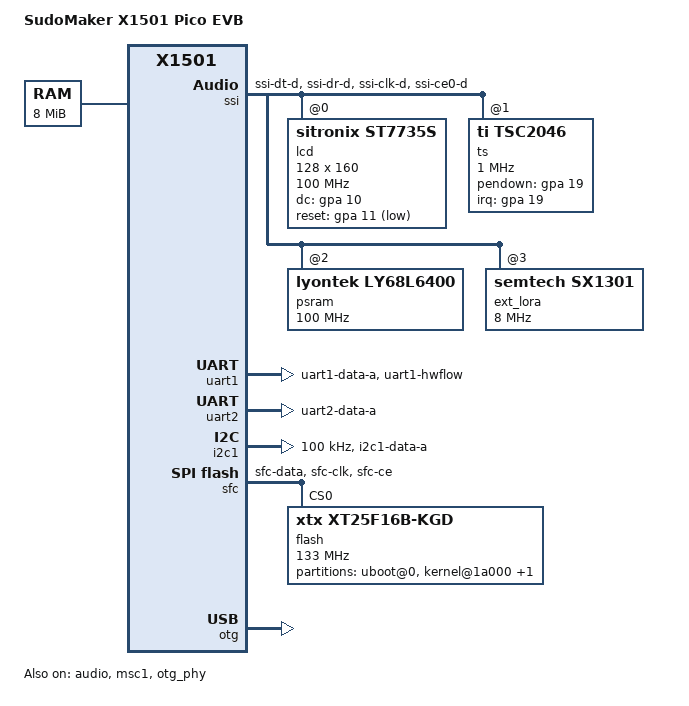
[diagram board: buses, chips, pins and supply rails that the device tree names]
// SPDX-License-Identifier: GPL-2.0
/dts-v1/;

#include "x1501.dtsi"
#include <dt-bindings/gpio/gpio.h>
#include <dt-bindings/input/input.h>
#include <dt-bindings/clock/ingenic,sysost.h>
#include <dt-bindings/interrupt-controller/irq.h>

/ {
	compatible = "sudomaker,x1501-pico-evb", "ingenic,x1501";
	model = "SudoMaker X1501 Pico EVB";

	aliases {
		serial2 = &uart2;
	};

	chosen {
		stdout-path = "serial2:115200n8";
	};

	memory {
		device_type = "memory";
		reg = <0x0 0x800000>;
	};

};

&exclk {
	clock-frequency = <24000000>;
};

&cgu {
	assigned-clocks = <&cgu X1000_CLK_SSIMUX>, <&cgu X1000_CLK_RTC>;
	assigned-clock-parents = <&cgu X1000_CLK_SSIPLL_DIV2>, <&cgu X1000_CLK_EXCLK_DIV512>;
};

&ost {
	/* 1500 kHz for the system timer and clocksource */
	assigned-clocks = <&ost OST_CLK_EVENT_TIMER>, <&ost OST_CLK_GLOBAL_TIMER>;
	assigned-clock-rates = <1500000>, <1500000>;
};

&ssi {
	status = "okay";

	pinctrl-names = "default";
	pinctrl-0 = <&pins_spi0>;

	num-cs = <4>;
	cs-gpios = <0>, <&gpa 18 GPIO_ACTIVE_LOW>, <&gpa 17 GPIO_ACTIVE_LOW>, <&gpa 16 GPIO_ACTIVE_LOW>;

	lcd: lcd@0 {
		reg = <0>;
		compatible = "sitronix,st7735s";

		spi-max-frequency = <100000000>;
		rotate = <270>;
		width = <128>;
		height = <160>;
		txbuflen = <16384>;
		buswidth = <8>;
		fps = <60>;
		dc-gpios = <&gpa 10 0>;
		reset-gpios = <&gpa 11 GPIO_ACTIVE_LOW>;
		debug = <0x4000000>;

		gamma = "02 1c 07 12 37 32 29 2d 29 25 2B 39 00 01 03 10\n03 1d 07 06 2E 2C 29 2D 2E 2E 37 3F 00 00 02 10";

	};

	ts: tsc2046@1 {
		reg = <1>;
		compatible = "ti,tsc2046";

		pinctrl-names = "default";
		pinctrl-0 = <&pins_xpt2046>;

		interrupt-parent = <&gpa>;
		interrupts = <19 0>;
		wakeup-source;

		spi-max-frequency = <1000000>;
		pendown-gpio = <&gpa 19 0>;
	};

	psram: ly68@2 {
		reg = <2>;
		compatible = "lyontek,ly68l6400";

		spi-max-frequency = <100000000>;
		op-sleep-ratio = <20>;
	};

	// ext_flash: m25p80@2 {
	// 	reg = <2>;
	// 	compatible = "spi-nand";

	// 	spi-max-frequency = <33000000>;
	// };

	ext_lora: lora@3 {
		reg = <3>;
		compatible = "semtech,sx1301";

		spi-max-frequency = <8000000>;
	};
};

&uart1 {
	status = "okay";

	pinctrl-names = "default";
	pinctrl-0 = <&pins_uart1>;
};

&uart2 {
	status = "okay";

	pinctrl-names = "default";
	pinctrl-0 = <&pins_uart2>;
};

&audio {
	status = "okay";
};

&i2c1 {
	status = "okay";

	clock-frequency = <100000>;

	pinctrl-names = "default";
	pinctrl-0 = <&pins_i2c1>;
};


&sfc {
	status = "okay";

	#address-cells = <1>;
	#size-cells = <0>;


	pinctrl-names = "default";
	pinctrl-0 = <&pins_sfc>;

	flash: m25p80@0 {
		compatible = "xtx,xt25f16b-kgd", "jedec,spi-nor";
		spi-max-frequency = <133000000>;
		reg = <0>;

		spi-rx-bus-width = <4>;
		spi-tx-bus-width = <4>;

		partitions {
			compatible = "fixed-partitions";
			#address-cells = <1>;
			#size-cells = <1>;

			uboot@0 {
				reg = <0x0 0x01a000>;
			};

			kernel@1a000 {
				reg = <0x01a000 0x100000>;
			};

			rootfs@100000 {
				reg = <0x11a000 0xe6000>;
			};
		};
	};

};

&msc1 {
	status = "okay";

	bus-width = <4>;
	max-frequency = <25000000>;

	pinctrl-names = "default";
	pinctrl-0 = <&pins_msc1>;

	non-removable;
};

&otg_phy {
	status = "okay";
};

&otg {
	status = "okay";
};

&pinctrl {
	pins_xpt2046: pa19 {
		pins = "PA19";
		bias-pull-up;
	};

	pins_sfc: sfc {
		function = "sfc";
		groups = "sfc-data", "sfc-clk", "sfc-ce";
		bias-disable;
	};

	pins_spi0: spi0 {
		function = "ssi";
		groups = "ssi-dt-d", "ssi-dr-d", "ssi-clk-d", "ssi-ce0-d";
	};

	pins_uart2: uart2 {
		function = "uart2";
		groups = "uart2-data-a";
	};

	pins_uart1: uart1 {
		function = "uart1";
		groups = "uart1-data-a", "uart1-hwflow";
	};

	pins_i2c1: i2c1 {
		function = "i2c1";
		groups = "i2c1-data-a";
		bias-pull-up;
	};

	pins_msc1: msc1 {
		function = "mmc1";
		groups = "mmc1-1bit", "mmc1-4bit";
		bias-disable;
	};

};
